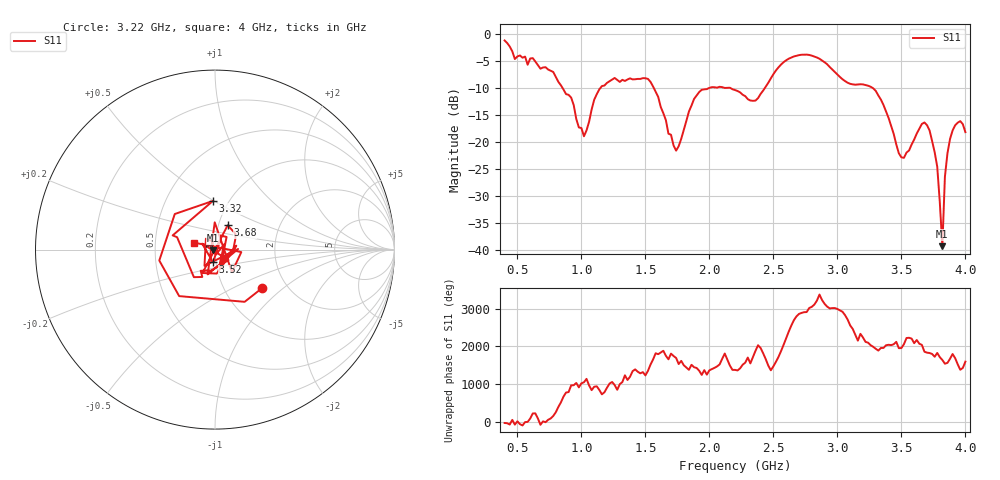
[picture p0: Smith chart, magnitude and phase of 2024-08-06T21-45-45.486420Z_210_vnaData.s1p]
!Created with skrf (http://scikit-rf.org).
# Hz S RI R 50.0
!freq ReS11 ImS11
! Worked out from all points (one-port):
!   181 points, 400 MHz to 4 GHz, reference 50 ohm
!   lowest |S11| = -39.2 dB at 3.82 GHz (marker M1), VSWR 1.02, Z = 49 - j0.451 ohm
!   |S11| at or under -10 dB: 854.5 MHz to 1.146 GHz (291.6 MHz wide, 29.1 % of centre); 1.567 GHz to 1.992 GHz (424.7 MHz wide, 23.9 % of centre); 3.28 GHz to end of sweep (the widest 3 of 4)
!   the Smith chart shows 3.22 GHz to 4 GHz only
!   S11 on the Smith chart (normalised r, x): 3.22 GHz: 1.50, -0.73; 3.32 GHz: 0.84, +0.49; 3.52 GHz: 0.97, -0.14; 3.68 GHz: 1.11, +0.31; 4 GHz: 0.79, +0.06
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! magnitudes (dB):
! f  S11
! 400 MHz  -1.1
! 480 MHz  -4.6
! 620 MHz  -4.4
! 860 MHz  -10.2
! 1.02 GHz  -18.9
! 1.14 GHz  -10.2
! 1.3 GHz  -8.8
! 1.52 GHz  -8.3
! 1.72 GHz  -20.6
! 1.76 GHz  -20.7
! 1.92 GHz  -10.7
! 2.2 GHz  -10.3
! 2.36 GHz  -12.3
! 2.66 GHz  -4.1
! 2.84 GHz  -4.3
! 3.1 GHz  -9.2
! 3.22 GHz  -9.4
! 3.32 GHz  -11.3
! 3.52 GHz  -22.9
! 3.56 GHz  -21.5
! 3.68 GHz  -16.3
! 3.72 GHz  -17.8
! 3.78 GHz  -24.5
! 3.82 GHz  -39.2
! 3.84 GHz  -26.4
! 3.88 GHz  -19.4
! 3.96 GHz  -16.1
! 4 GHz  -18.1
